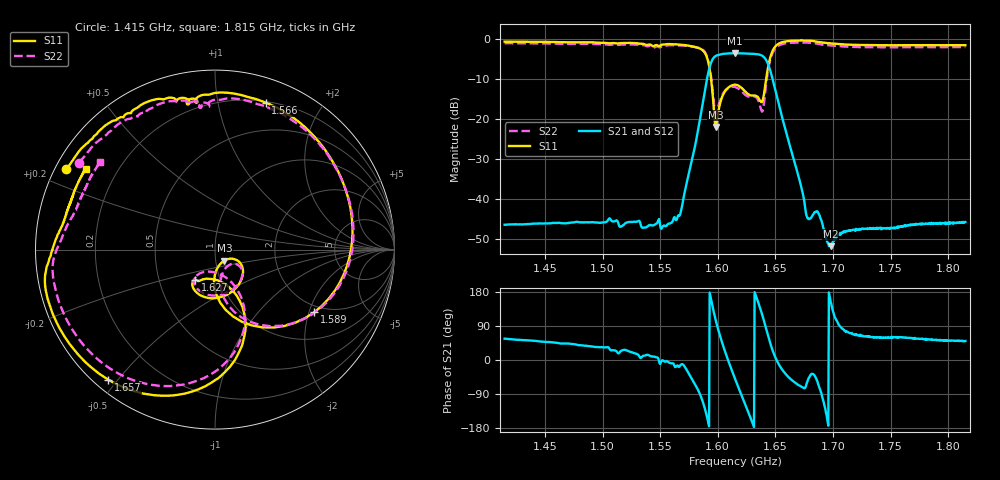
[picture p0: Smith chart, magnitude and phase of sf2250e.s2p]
# Hz S RI R 50
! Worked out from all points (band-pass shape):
!   801 points, 1.415 GHz to 1.815 GHz, reference 50 ohm
!   highest |S21| = -3.45 dB at 1.615 GHz (marker M1); lowest = -51.7 dB at 1.698 GHz (marker M2)
!   |S21| within 3 dB of the highest: 1.593 GHz to 1.644 GHz (50.61 MHz wide, 3.13 % of centre)
!   lowest |S11| = -21.9 dB at 1.599 GHz (marker M3), VSWR 1.17, Z = 55.1 - j6.74 ohm
!   |S11| at or under -10 dB: 1.594 GHz to 1.642 GHz (47.71 MHz wide, 2.95 % of centre)
!   |S22| runs from -18.7 to -0.8 dB; largest |S21 - S12| = 0.00089
!   S11 on the Smith chart (normalised r, x): 1.415 GHz: 0.03, +0.25; 1.566 GHz: 0.21, +1.38; 1.589 GHz: 1.78, -2.17; 1.627 GHz: 0.76, -0.27; 1.657 GHz: 0.04, -0.47; 1.815 GHz: 0.09, +0.28
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1.415e9  -0.8282 0.4474  0.00266 0.00399  0.00267 0.00397  -0.7563 0.485
1.482e9  -0.6438 0.6624  0.00404 0.00319  0.00403 0.00318  -0.5668 0.6765
1.5485e9  -0.0976 0.8232  0.00548 0.000313  0.00548 0.000329  -0.0362 0.8114
1.566e9  0.2819 0.818  0.00599 -0.00197  0.006 -0.00196  0.3131 0.7835
1.5825e9  0.753 0.2396  0.0157 -0.0658  0.0157 -0.0658  0.7566 0.2379
1.5895e9  0.5525 -0.3496  -0.1864 -0.1822  -0.1861 -0.1825  0.5822 -0.3312
1.5945e9  0.0287 -0.2952  -0.4798 0.2144  -0.4801 0.2143  0.074 -0.3098
1.5985e9  0.0527 -0.0607  -0.1293 0.6115  -0.1298 0.6113  0.0735 -0.0898
1.607e9  0.1373 -0.1865  0.639 0.1903  0.6388 0.191  0.1287 -0.1945
1.615e9  -0.0325 -0.27  0.4379 -0.5103  0.438 -0.5104  -0.0418 -0.251
1.621e9  -0.1218 -0.2137  -0.0645 -0.666  -0.064 -0.6665  -0.1156 -0.1909
1.6275e9  -0.1115 -0.1691  -0.545 -0.3796  -0.5451 -0.3796  -0.1084 -0.1584
1.634e9  -0.087 -0.1744  -0.6234 0.1992  -0.6238 0.1988  -0.1055 -0.1526
1.64e9  0.0572 -0.1913  -0.1564 0.5851  -0.1561 0.5849  0.0477 -0.1467
1.646e9  0.1121 -0.6138  0.2978 0.254  0.2976 0.2541  0.1068 -0.5725
1.6505e9  -0.2012 -0.8082  0.2174 0.0141  0.2174 0.0142  -0.2135 -0.7568
1.6575e9  -0.5934 -0.7249  0.0739 -0.0455  0.074 -0.0455  -0.5987 -0.6534
1.6775e9  -0.9371 -0.2535  0.00309 -0.00521  0.00307 -0.00522  -0.9001 -0.1694
1.682e9  -0.9474 -0.1602  0.00495 -0.00367  0.00498 -0.00366  -0.9033 -0.0771
1.698e9  -0.8943 0.0353  -0.00231 0.00117  -0.0023 0.00114  -0.8359 0.1084
1.7485e9  -0.8017 0.273  0.00221 0.00369  0.00222 0.00367  -0.7276 0.328
1.815e9  -0.7207 0.4479  0.00332 0.00399  0.00332 0.004  -0.639 0.489
